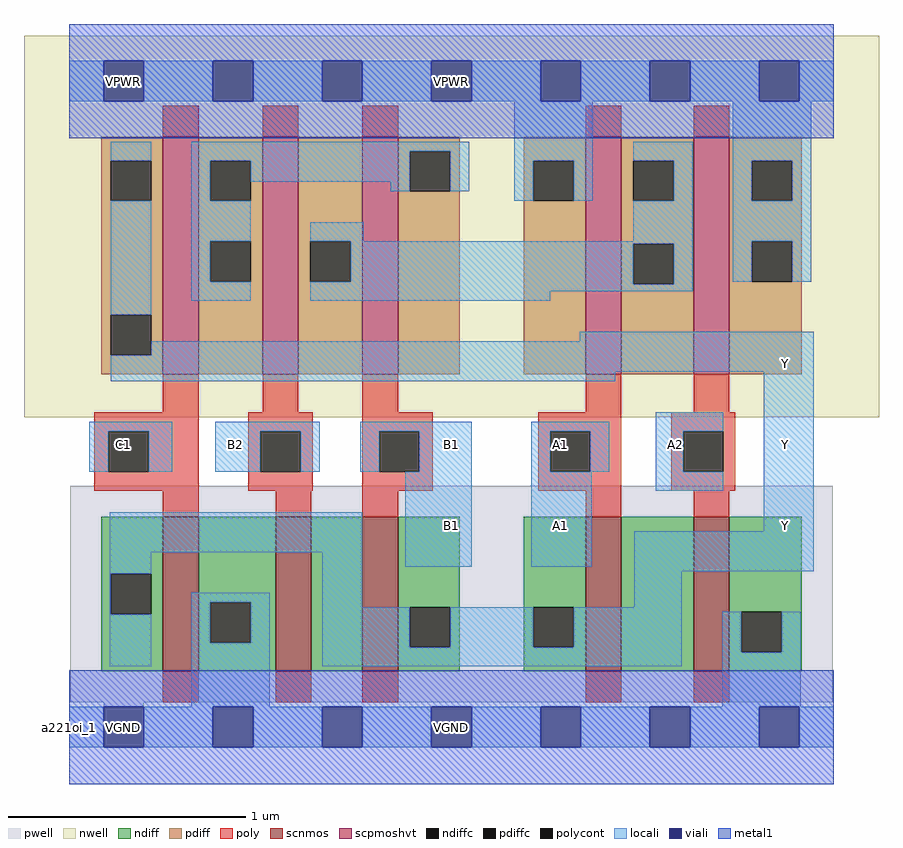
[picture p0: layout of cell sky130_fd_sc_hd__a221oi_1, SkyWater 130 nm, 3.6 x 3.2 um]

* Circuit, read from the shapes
.subckt sky130_fd_sc_hd__a221oi_1 A1 A2 B1 B2 C1 VGND VNB VPB VPWR Y
XM1 VGND C1 Y VNB sky130_fd_pr__nfet_01v8 w=0.65 l=0.15
XM2 n1 B2 VGND VNB sky130_fd_pr__nfet_01v8 w=0.65 l=0.15
XM3 Y B1 n1 VNB sky130_fd_pr__nfet_01v8 w=0.65 l=0.15
XM4 n2 A1 Y VNB sky130_fd_pr__nfet_01v8 w=0.65 l=0.15
XM5 VGND A2 n2 VNB sky130_fd_pr__nfet_01v8 w=0.65 l=0.15
XM6 n3 C1 Y VPB sky130_fd_pr__pfet_01v8_hvt w=1 l=0.15
XM7 n4 B2 n3 VPB sky130_fd_pr__pfet_01v8_hvt w=1 l=0.15
XM8 n3 B1 n4 VPB sky130_fd_pr__pfet_01v8_hvt w=1 l=0.15
XM9 n4 A1 VPWR VPB sky130_fd_pr__pfet_01v8_hvt w=1 l=0.15
XM10 VPWR A2 n4 VPB sky130_fd_pr__pfet_01v8_hvt w=1 l=0.15
.ends

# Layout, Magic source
magic
tech sky130B
magscale 1 2
<< nwell >>
rect -38 261 682 582
<< pwell >>
rect 1 21 643 203
rect 29 -17 63 21
<< scnmos >>
rect 79 47 109 177
rect 174 47 204 177
rect 247 47 277 177
rect 435 47 465 177
rect 526 47 556 177
<< scpmoshvt >>
rect 79 297 109 497
rect 163 297 193 497
rect 247 297 277 497
rect 435 297 465 497
rect 526 297 556 497
<< ndiff >>
rect 27 129 79 177
rect 27 95 35 129
rect 69 95 79 129
rect 27 47 79 95
rect 109 105 174 177
rect 109 71 119 105
rect 153 71 174 105
rect 109 47 174 71
rect 204 47 247 177
rect 277 101 329 177
rect 277 67 287 101
rect 321 67 329 101
rect 277 47 329 67
rect 383 101 435 177
rect 383 67 391 101
rect 425 67 435 101
rect 383 47 435 67
rect 465 47 526 177
rect 556 97 617 177
rect 556 63 566 97
rect 600 63 617 97
rect 556 47 617 63
<< pdiff >>
rect 27 477 79 497
rect 27 443 35 477
rect 69 443 79 477
rect 27 347 79 443
rect 27 313 35 347
rect 69 313 79 347
rect 27 297 79 313
rect 109 477 163 497
rect 109 443 119 477
rect 153 443 163 477
rect 109 409 163 443
rect 109 375 119 409
rect 153 375 163 409
rect 109 297 163 375
rect 193 409 247 497
rect 193 375 203 409
rect 237 375 247 409
rect 193 297 247 375
rect 277 485 329 497
rect 277 451 287 485
rect 321 451 329 485
rect 277 297 329 451
rect 383 477 435 497
rect 383 443 391 477
rect 425 443 435 477
rect 383 297 435 443
rect 465 477 526 497
rect 465 443 475 477
rect 509 443 526 477
rect 465 407 526 443
rect 465 373 475 407
rect 509 373 526 407
rect 465 297 526 373
rect 556 477 617 497
rect 556 443 575 477
rect 609 443 617 477
rect 556 409 617 443
rect 556 375 575 409
rect 609 375 617 409
rect 556 297 617 375
<< ndiffc >>
rect 35 95 69 129
rect 119 71 153 105
rect 287 67 321 101
rect 391 67 425 101
rect 566 63 600 97
<< pdiffc >>
rect 35 443 69 477
rect 35 313 69 347
rect 119 443 153 477
rect 119 375 153 409
rect 203 375 237 409
rect 287 451 321 485
rect 391 443 425 477
rect 475 443 509 477
rect 475 373 509 407
rect 575 443 609 477
rect 575 375 609 409
<< poly >>
rect 79 497 109 523
rect 163 497 193 523
rect 247 497 277 523
rect 435 497 465 523
rect 526 497 556 523
rect 79 265 109 297
rect 163 265 193 297
rect 247 265 277 297
rect 435 265 465 297
rect 526 265 556 297
rect 21 249 109 265
rect 21 215 33 249
rect 67 215 109 249
rect 21 199 109 215
rect 151 249 205 265
rect 151 215 161 249
rect 195 215 205 249
rect 151 199 205 215
rect 247 249 306 265
rect 247 215 261 249
rect 295 215 306 249
rect 247 199 306 215
rect 395 249 465 265
rect 395 215 405 249
rect 439 215 465 249
rect 395 199 465 215
rect 507 249 561 265
rect 507 215 517 249
rect 551 215 561 249
rect 507 199 561 215
rect 79 177 109 199
rect 174 177 204 199
rect 247 177 277 199
rect 435 177 465 199
rect 526 177 556 199
rect 79 21 109 47
rect 174 21 204 47
rect 247 21 277 47
rect 435 21 465 47
rect 526 21 556 47
<< polycont >>
rect 33 215 67 249
rect 161 215 195 249
rect 261 215 295 249
rect 405 215 439 249
rect 517 215 551 249
<< locali >>
rect 0 527 29 561
rect 63 527 121 561
rect 155 527 213 561
rect 247 527 305 561
rect 339 527 397 561
rect 431 527 489 561
rect 523 527 581 561
rect 615 527 644 561
rect 35 477 69 493
rect 35 347 69 443
rect 103 485 337 493
rect 103 477 287 485
rect 103 443 119 477
rect 153 459 287 477
rect 271 451 287 459
rect 321 451 337 485
rect 375 477 441 527
rect 375 443 391 477
rect 425 443 441 477
rect 475 477 525 493
rect 509 443 525 477
rect 103 409 153 443
rect 103 375 119 409
rect 103 359 153 375
rect 203 409 248 425
rect 475 409 525 443
rect 237 407 525 409
rect 237 375 475 407
rect 203 373 475 375
rect 509 373 525 407
rect 559 477 625 527
rect 559 443 575 477
rect 609 443 625 477
rect 559 409 625 443
rect 559 375 575 409
rect 609 375 625 409
rect 203 367 525 373
rect 203 359 405 367
rect 430 325 627 333
rect 69 313 627 325
rect 35 299 627 313
rect 35 291 460 299
rect 17 249 87 257
rect 17 215 33 249
rect 67 215 87 249
rect 123 249 211 257
rect 123 215 161 249
rect 195 215 211 249
rect 245 249 339 257
rect 245 215 261 249
rect 295 215 339 249
rect 34 147 247 181
rect 34 129 69 147
rect 34 95 35 129
rect 34 51 69 95
rect 103 105 169 113
rect 103 71 119 105
rect 153 71 169 105
rect 103 17 169 71
rect 213 101 247 147
rect 283 135 339 215
rect 389 249 455 257
rect 389 215 405 249
rect 439 215 455 249
rect 494 249 551 265
rect 494 215 517 249
rect 389 135 440 215
rect 494 199 551 215
rect 585 165 627 299
rect 476 131 627 165
rect 476 101 516 131
rect 213 67 287 101
rect 321 67 391 101
rect 425 67 516 101
rect 213 51 516 67
rect 550 63 566 97
rect 600 63 616 97
rect 550 17 616 63
rect 0 -17 29 17
rect 63 -17 121 17
rect 155 -17 213 17
rect 247 -17 305 17
rect 339 -17 397 17
rect 431 -17 489 17
rect 523 -17 581 17
rect 615 -17 644 17
<< viali >>
rect 29 527 63 561
rect 121 527 155 561
rect 213 527 247 561
rect 305 527 339 561
rect 397 527 431 561
rect 489 527 523 561
rect 581 527 615 561
rect 29 -17 63 17
rect 121 -17 155 17
rect 213 -17 247 17
rect 305 -17 339 17
rect 397 -17 431 17
rect 489 -17 523 17
rect 581 -17 615 17
<< metal1 >>
rect 0 561 644 592
rect 0 527 29 561
rect 63 527 121 561
rect 155 527 213 561
rect 247 527 305 561
rect 339 527 397 561
rect 431 527 489 561
rect 523 527 581 561
rect 615 527 644 561
rect 0 496 644 527
rect 0 17 644 48
rect 0 -17 29 17
rect 63 -17 121 17
rect 155 -17 213 17
rect 247 -17 305 17
rect 339 -17 397 17
rect 431 -17 489 17
rect 523 -17 581 17
rect 615 -17 644 17
rect 0 -48 644 -17
<< labels >>
flabel locali s 586 153 620 187 0 FreeSans 200 0 0 0 Y
port 10 nsew signal output
flabel locali s 586 289 620 323 0 FreeSans 200 0 0 0 Y
port 10 nsew signal output
flabel locali s 586 221 620 255 0 FreeSans 200 0 0 0 Y
port 10 nsew signal output
flabel locali s 29 221 63 255 0 FreeSans 200 0 0 0 C1
port 5 nsew signal input
flabel locali s 397 221 431 255 0 FreeSans 200 0 0 0 A1
port 1 nsew signal input
flabel locali s 494 221 528 255 0 FreeSans 200 0 0 0 A2
port 2 nsew signal input
flabel locali s 123 221 157 255 0 FreeSans 200 0 0 0 B2
port 4 nsew signal input
flabel locali s 305 221 339 255 0 FreeSans 200 0 0 0 B1
port 3 nsew signal input
flabel locali s 397 153 431 187 0 FreeSans 200 0 0 0 A1
port 1 nsew signal input
flabel locali s 305 153 339 187 0 FreeSans 200 0 0 0 B1
port 3 nsew signal input
flabel metal1 s 29 -17 63 17 0 FreeSans 200 0 0 0 VGND
port 6 nsew ground bidirectional abutment
flabel metal1 s 29 527 63 561 0 FreeSans 200 0 0 0 VPWR
port 9 nsew power bidirectional abutment
flabel nwell s 29 527 63 561 0 FreeSans 200 0 0 0 VPB
port 8 nsew power bidirectional
flabel pwell s 29 -17 63 17 0 FreeSans 200 0 0 0 VNB
port 7 nsew ground bidirectional
rlabel comment s 0 0 0 0 4 a221oi_1
rlabel metal1 s 0 -48 644 48 1 VGND
port 6 nsew ground bidirectional abutment
rlabel metal1 s 0 496 644 592 1 VPWR
port 9 nsew power bidirectional abutment
<< properties >>
string FIXED_BBOX 0 0 644 544
string GDS_END 3590080
string GDS_FILE $PDKPATH/libs.ref/sky130_fd_sc_hd/gds/sky130_fd_sc_hd.gds
string GDS_START 3583510
string LEFclass CORE
string LEFsite unithd
string LEFsymmetry X Y R90
string path 0.000 0.000 16.100 0.000 
<< end >>
